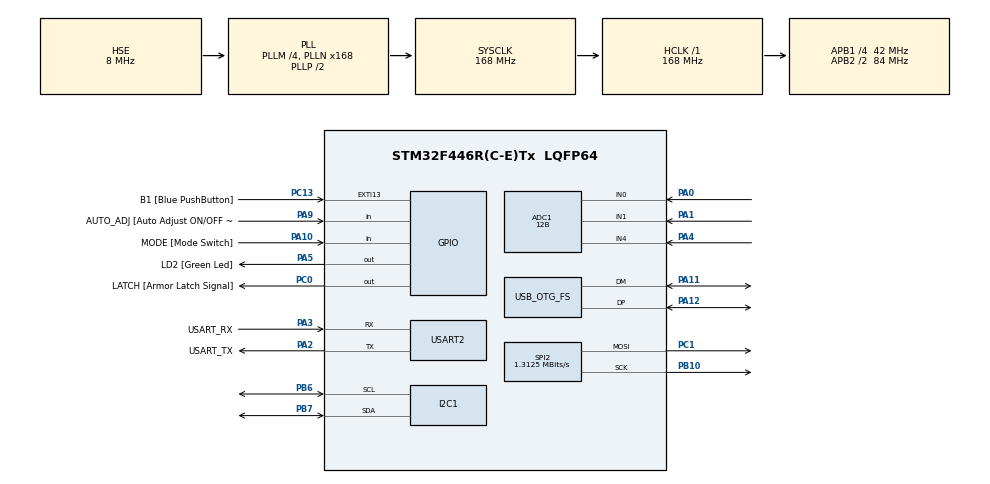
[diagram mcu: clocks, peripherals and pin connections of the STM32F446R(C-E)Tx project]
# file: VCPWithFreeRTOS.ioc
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ADC1.Channel-0\#ChannelRegularConversion=ADC_CHANNEL_0
ADC1.ClockPrescaler=ADC_CLOCK_SYNC_PCLK_DIV4
ADC1.ContinuousConvMode=DISABLE
ADC1.DMAContinuousRequests=DISABLE
ADC1.DataAlign=ADC_DATAALIGN_RIGHT
ADC1.DiscontinuousConvMode=DISABLE
ADC1.EOCSelection=ADC_EOC_SINGLE_CONV
ADC1.EnableAnalogWatchDog=false
ADC1.ExternalTrigConv=ADC_SOFTWARE_START
ADC1.ExternalTrigConvEdge=ADC_EXTERNALTRIGCONVEDGE_NONE
ADC1.InjNumberOfConversion=0
ADC1.NbrOfConversion=1
ADC1.NbrOfConversionFlag=1
ADC1.Rank-0\#ChannelRegularConversion=1
ADC1.Resolution=ADC_RESOLUTION_12B
ADC1.SamplingTime-0\#ChannelRegularConversion=ADC_SAMPLETIME_3CYCLES
ADC1.ScanConvMode=DISABLE
ADC1.master=1
FREERTOS.INCLUDE_vTaskDelayUntil=1
FREERTOS.Queues01=queueVcpRx,512,uint8_t,0,Dynamic,NULL,NULL;queueLedTx,8,ArmorPanelFrame,0,Dynamic,NULL,NULL
FREERTOS.Tasks01=defaultTask,0,128,StartDefaultTask,Default,NULL,Dynamic,NULL,NULL;ledTask,1,128,StartLedTask,Default,NULL,Dynamic,NULL,NULL;vcpDriverTask,2,128,StartVcpDriverTask,Default,NULL,Dynamic,NULL,NULL
FREERTOS.Timers01=switchPollTimer,switchPollCallback,osTimerPeriodic,Default,NULL,Dynamic,NULL
FREERTOS.configUSE_IDLE_HOOK=1
FREERTOS.configUSE_TIMERS=1
Mcu.Family=STM32F4
Mcu.Name=STM32F446R(C-E)Tx
Mcu.Package=LQFP64
NVIC.OTG_FS_IRQn=true\:5\:0\:false\:false\:true\:true\:false
NVIC.PriorityGroup=NVIC_PRIORITYGROUP_4
NVIC.SPI2_IRQn=true\:5\:0\:false\:false\:true\:true\:true
NVIC.TIM8_TRG_COM_TIM14_IRQn=true\:0\:0\:false\:false\:true\:false\:false
NVIC.TimeBase=TIM8_TRG_COM_TIM14_IRQn
NVIC.TimeBaseIP=TIM14
PA0-WKUP.Signal=ADCx_IN0
PA1.Signal=ADCx_IN1
PA10.GPIO_Label=MODE [Mode Switch]
PA10.GPIO_PuPd=GPIO_PULLUP
PA10.Signal=GPIO_Input
PA11.Mode=Device_Only
PA11.Signal=USB_OTG_FS_DM
PA12.Mode=Device_Only
PA12.Signal=USB_OTG_FS_DP
PA13.GPIO_Label=TMS
PA13.Mode=Serial_Wire
PA13.Signal=SYS_JTMS-SWDIO
PA14.GPIO_Label=TCK
PA14.Mode=Serial_Wire
PA14.Signal=SYS_JTCK-SWCLK
PA2.GPIO_Label=USART_TX
PA2.Mode=Asynchronous
PA2.Signal=USART2_TX
PA3.GPIO_Label=USART_RX
PA3.Mode=Asynchronous
PA3.Signal=USART2_RX
PA4.Signal=ADCx_IN4
PA5.GPIO_Label=LD2 [Green Led]
PA5.Signal=GPIO_Output
PA9.GPIO_Label=AUTO_ADJ [Auto Adjust ON/OFF Switch]
PA9.GPIO_PuPd=GPIO_PULLUP
PA9.Signal=GPIO_Input
PB10.Mode=TX_Only_Simplex_Unidirect_Master
PB10.Signal=SPI2_SCK
PB3.GPIO_Label=SWO
PB3.Signal=SYS_JTDO-SWO
PB6.Mode=I2C
PB6.Signal=I2C1_SCL
PB7.Mode=I2C
PB7.Signal=I2C1_SDA
PC0.GPIO_Label=LATCH [Armor Latch Signal]
PC0.PinState=GPIO_PIN_RESET
PC0.Signal=GPIO_Output
PC1.Mode=TX_Only_Simplex_Unidirect_Master
PC1.Signal=SPI2_MOSI
PC13.GPIO_Label=B1 [Blue PushButton]
PC13.GPIO_ModeDefaultEXTI=GPIO_MODE_IT_FALLING
PC13.Signal=GPXTI13
PC14-OSC32_IN.Mode=LSE-External-Oscillator
PC14-OSC32_IN.Signal=RCC_OSC32_IN
PC15-OSC32_OUT.Mode=LSE-External-Oscillator
PC15-OSC32_OUT.Signal=RCC_OSC32_OUT
PH0-OSC_IN.Mode=HSE-External-Oscillator
PH0-OSC_IN.Signal=RCC_OSC_IN
PH1-OSC_OUT.Mode=HSE-External-Oscillator
PH1-OSC_OUT.Signal=RCC_OSC_OUT
ProjectManager.HeapSize=0x400
ProjectManager.StackSize=0x800
ProjectManager.TargetToolchain=MDK-ARM V5
RCC.48MHZClocksFreq_Value=84000000
RCC.AHBFreq_Value=168000000
RCC.APB1CLKDivider=RCC_HCLK_DIV4
RCC.APB1Freq_Value=42000000
RCC.APB1TimFreq_Value=84000000
RCC.APB2CLKDivider=RCC_HCLK_DIV2
RCC.APB2Freq_Value=84000000
RCC.APB2TimFreq_Value=168000000
RCC.CortexFreq_Value=168000000
RCC.FLatency-AdvancedSettings=FLASH_LATENCY_5
RCC.HCLKFreq_Value=168000000
RCC.HSE_VALUE=8000000
RCC.HSI_VALUE=16000000
RCC.PLLM=4
RCC.PLLN=168
RCC.PLLQ=7
RCC.PLLSourceVirtual=RCC_PLLSOURCE_HSE
RCC.SYSCLKFreq_VALUE=168000000
RCC.SYSCLKSource=RCC_SYSCLKSOURCE_PLLCLK
RCC.USBFreq_Value=48000000
RCC.VCOOutputFreq_Value=336000000
SH.ADCx_IN0.0=ADC1_IN0,IN0
SH.ADCx_IN1.0=ADC1_IN1,IN1
SH.ADCx_IN4.0=ADC1_IN4,IN4
SPI2.BaudRatePrescaler=SPI_BAUDRATEPRESCALER_32
SPI2.CalculateBaudRate=1.3125 MBits/s
SPI2.Direction=SPI_DIRECTION_2LINES
SPI2.FirstBit=SPI_FIRSTBIT_LSB
SPI2.Mode=SPI_MODE_MASTER
SPI2.VirtualType=VM_MASTER
USART2.VirtualMode=VM_ASYNC
USB_DEVICE.CLASS_NAME_FS=CDC
USB_DEVICE.VirtualMode-CDC_FS=Cdc
USB_DEVICE.VirtualModeFS=Cdc_FS
USB_OTG_FS.VirtualMode=Device_Only
VP_FREERTOS_VS_ENABLE.Mode=Enabled
VP_SYS_VS_tim14.Mode=TIM14
VP_USB_DEVICE_VS_USB_DEVICE_CDC_FS.Mode=CDC_FS
board=NUCLEO-F446RE

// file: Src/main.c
/**
  ******************************************************************************
  * @file           : main.c
  * @brief          : Main program body
  ******************************************************************************
  * This notice applies to any and all portions of this file
  * that are not between comment pairs USER CODE BEGIN and
  * USER CODE END. Other portions of this file, whether
  * inserted by the user or by software development tools
  * are owned by their respective copyright owners.
  *
  * Copyright (c) 2018 STMicroelectronics International N.V.
  * All rights reserved.
  *
  * Redistribution and use in source and binary forms, with or without
  * modification, are permitted, provided that the following conditions are met:
  *
  * 1. Redistribution of source code must retain the above copyright notice,
  *    this list of conditions and the following disclaimer.
  * 2. Redistributions in binary form must reproduce the above copyright notice,
  *    this list of conditions and the following disclaimer in the documentation
  *    and/or other materials provided with the distribution.
  * 3. Neither the name of STMicroelectronics nor the names of other
  *    contributors to this software may be used to endorse or promote products
  *    derived from this software without specific written permission.
  * 4. This software, including modifications and/or derivative works of this
  *    software, must execute solely and exclusively on microcontroller or
  *    microprocessor devices manufactured by or for STMicroelectronics.
  * 5. Redistribution and use of this software other than as permitted under
  *    this license is void and will automatically terminate your rights under
  *    this license.
  *
  * THIS SOFTWARE IS PROVIDED BY STMICROELECTRONICS AND CONTRIBUTORS "AS IS"
  * AND ANY EXPRESS, IMPLIED OR STATUTORY WARRANTIES, INCLUDING, BUT NOT
  * LIMITED TO, THE IMPLIED WARRANTIES OF MERCHANTABILITY, FITNESS FOR A
  * PARTICULAR PURPOSE AND NON-INFRINGEMENT OF THIRD PARTY INTELLECTUAL PROPERTY
  * RIGHTS ARE DISCLAIMED TO THE FULLEST EXTENT PERMITTED BY LAW. IN NO EVENT
  * SHALL STMICROELECTRONICS OR CONTRIBUTORS BE LIABLE FOR ANY DIRECT, INDIRECT,
  * INCIDENTAL, SPECIAL, EXEMPLARY, OR CONSEQUENTIAL DAMAGES (INCLUDING, BUT NOT
  * LIMITED TO, PROCUREMENT OF SUBSTITUTE GOODS OR SERVICES; LOSS OF USE, DATA,
  * OR PROFITS; OR BUSINESS INTERRUPTION) HOWEVER CAUSED AND ON ANY THEORY OF
  * LIABILITY, WHETHER IN CONTRACT, STRICT LIABILITY, OR TORT (INCLUDING
  * NEGLIGENCE OR OTHERWISE) ARISING IN ANY WAY OUT OF THE USE OF THIS SOFTWARE,
  * EVEN IF ADVISED OF THE POSSIBILITY OF SUCH DAMAGE.
  *
  ******************************************************************************
  */
#include "main.h"
#include "stm32f4xx_hal.h"
#include "cmsis_os.h"
#include "usb_device.h"

/* USER CODE BEGIN Includes */
#include "usbd_cdc_if.h"
#include "user.h"
/* USER CODE END Includes */

ADC_HandleTypeDef hadc1;

I2C_HandleTypeDef hi2c1;

SPI_HandleTypeDef hspi2;

UART_HandleTypeDef huart2;

osThreadId defaultTaskHandle;
osThreadId ledTaskHandle;
osThreadId vcpDriverTaskHandle;
osMessageQId queueVcpRxHandle;
osMessageQId queueLedTxHandle;
osTimerId switchPollTimerHandle;

/* USER CODE BEGIN PV */
/* Private variables ---------------------------------------------------------*/

/* USER CODE END PV */

void SystemClock_Config(void);
static void MX_GPIO_Init(void);
static void MX_USART2_UART_Init(void);
static void MX_SPI2_Init(void);
static void MX_ADC1_Init(void);
static void MX_I2C1_Init(void);
void StartDefaultTask(void const * argument);
void StartLedTask(void const * argument);
void StartVcpDriverTask(void const * argument);
void switchPollCallback(void const * argument);

/* USER CODE BEGIN PFP */
/* Private function prototypes -----------------------------------------------*/

/* USER CODE END PFP */

/* USER CODE BEGIN 0 */
#ifdef __GNUC__
#define PUTCHAR_PROTOTYPE int __io_putchar(int ch)
#else
#define PUTCHAR_PROTOTYPE int fputc(int ch, FILE *f)
#endif /* __GNUC__ */
PUTCHAR_PROTOTYPE
{
  /* Place your implementation of fputc here */
  /* e.g. write a character to the USART1 and Loop until the end of transmission */
  HAL_UART_Transmit(&huart2, (uint8_t *)&ch, 1, 0xFFFF);

  return ch;
}

void VCP_ReceivedCallback(uint8_t *buf, uint16_t len)
{
	int i;
	portBASE_TYPE xHigherPriorityTaskWoken = pdFALSE;
	for (i = 0; i < len; i++) {
		xQueueSendFromISR(queueVcpRxHandle, (uint8_t*)&buf[i], &xHigherPriorityTaskWoken);
	}
	portYIELD_FROM_ISR(xHigherPriorityTaskWoken);
}

void vApplicationIdleHook(void)
{
	// TODO:
}

void OLED_WriteCommand(uint8_t command)
{
	uint8_t txBuff[2];
	txBuff[0] = 0x00;
	txBuff[1] = command;
	HAL_I2C_Master_Transmit(&hi2c1, (uint16_t)0x3C<<1, txBuff, 2, 0xFFFF);
	HAL_Delay(10);
}

void OLED_Init(void)
{
	HAL_Delay(100);
	OLED_WriteCommand(0x01);	// Clear Display
	HAL_Delay(20);
	OLED_WriteCommand(0x02);	// Return Home
	HAL_Delay(2);
	//OLED_WriteCommand(0x0F);	// Send Display ON Command
	OLED_WriteCommand(0x0C);	// Send Display ON Command (Blink=0, Cursor=0)
	HAL_Delay(2);
	OLED_WriteCommand(0x01);	// Clear Display
	HAL_Delay(20);
}

void OLED_SetContrast(uint8_t brightness)
{
	OLED_WriteCommand(0x2A);	// RE=1
	OLED_WriteCommand(0x79);	// SD=1
	OLED_WriteCommand(0x81);	// コントラストセット
	OLED_WriteCommand(brightness);
	OLED_WriteCommand(0x78);	// SDを0に戻す
	OLED_WriteCommand(0x28);	// 0x2C=高文字 / 0x28=ノーマル
	HAL_Delay(100);
}

void OLED_WriteData(uint8_t data)
{
	uint8_t txBuff[2];
	txBuff[0] = 0x40;
	txBuff[1] = data;
	HAL_I2C_Master_Transmit(&hi2c1, (uint16_t)0x3C<<1, txBuff, 2, 0xFFFF);
	HAL_Delay(1);
}

void OLED_HelloWorld(void)
{
	int i;
	int len;
	char str1[16] = "I2C OLED YELLOW";
	char str2[16];

	len = strlen(str1);
	for (i = 0; i < len; i++) {
		OLED_WriteData(str1[i]);
	}

	while (1) {
		// 2行目の先頭
		OLED_WriteCommand(0x20 + 0x80);

		sprintf(str2, "%10u", HAL_GetTick());
		len = strlen(str2);
		for (i = 0; i < len; i++) {
			OLED_WriteData(str2[i]);
		}
	}
}

/* USER CODE END 0 */

int main(void)
{

  /* MCU Configuration----------------------------------------------------------*/

  /* Reset of all peripherals, Initializes the Flash interface and the Systick. */
  HAL_Init();

  /* Configure the system clock */
  SystemClock_Config();

  /* Initialize all configured peripherals */
  MX_GPIO_Init();
  MX_USART2_UART_Init();
  MX_SPI2_Init();
  MX_ADC1_Init();
  MX_I2C1_Init();
  /* USER CODE BEGIN 2 */
	OLED_Init();
	OLED_SetContrast(255);
	OLED_HelloWorld();

  /* USER CODE END 2 */

  /* Create the timer(s) */
  /* definition and creation of switchPollTimer */
  osTimerDef(switchPollTimer, switchPollCallback);
  switchPollTimerHandle = osTimerCreate(osTimer(switchPollTimer), osTimerPeriodic, NULL);

  /* USER CODE BEGIN RTOS_TIMERS */
  /* start timers, add new ones, ... */
  osTimerStart(switchPollTimerHandle, 10);
  /* USER CODE END RTOS_TIMERS */

  /* Create the thread(s) */
  /* definition and creation of defaultTask */
  osThreadDef(defaultTask, StartDefaultTask, osPriorityNormal, 0, 128);
  defaultTaskHandle = osThreadCreate(osThread(defaultTask), NULL);

  /* definition and creation of ledTask */
  osThreadDef(ledTask, StartLedTask, osPriorityAboveNormal, 0, 128);
  ledTaskHandle = osThreadCreate(osThread(ledTask), NULL);

  /* definition and creation of vcpDriverTask */
  osThreadDef(vcpDriverTask, StartVcpDriverTask, osPriorityHigh, 0, 128);
  vcpDriverTaskHandle = osThreadCreate(osThread(vcpDriverTask), NULL);

  /* Create the queue(s) */
  /* definition and creation of queueVcpRx */
/* what about the sizeof here??? cd native code */
  osMessageQDef(queueVcpRx, 512, uint8_t);
  queueVcpRxHandle = osMessageCreate(osMessageQ(queueVcpRx), NULL);

  /* definition and creation of queueLedTx */
/* what about the sizeof here??? cd native code */
  osMessageQDef(queueLedTx, 8, ArmorPanelFrame);
  queueLedTxHandle = osMessageCreate(osMessageQ(queueLedTx), NULL);

  /* Start scheduler */
  osKernelStart();

  /* We should never get here as control is now taken by the scheduler */

  /* Infinite loop */
  while (1)
  {

  }

}

void SystemClock_Config(void)
{

  RCC_OscInitTypeDef RCC_OscInitStruct;
  RCC_ClkInitTypeDef RCC_ClkInitStruct;
  RCC_PeriphCLKInitTypeDef PeriphClkInitStruct;

    /**Configure the main internal regulator output voltage
    */
  __HAL_RCC_PWR_CLK_ENABLE();

  __HAL_PWR_VOLTAGESCALING_CONFIG(PWR_REGULATOR_VOLTAGE_SCALE1);

    /**Initializes the CPU, AHB and APB busses clocks
    */
  RCC_OscInitStruct.OscillatorType = RCC_OSCILLATORTYPE_HSE;
  RCC_OscInitStruct.HSEState = RCC_HSE_ON;
  RCC_OscInitStruct.PLL.PLLState = RCC_PLL_ON;
  RCC_OscInitStruct.PLL.PLLSource = RCC_PLLSOURCE_HSE;
  RCC_OscInitStruct.PLL.PLLM = 4;
  RCC_OscInitStruct.PLL.PLLN = 168;
  RCC_OscInitStruct.PLL.PLLP = RCC_PLLP_DIV2;
  RCC_OscInitStruct.PLL.PLLQ = 7;
  RCC_OscInitStruct.PLL.PLLR = 2;
  if (HAL_RCC_OscConfig(&RCC_OscInitStruct) != HAL_OK)
  {
    _Error_Handler(__FILE__, __LINE__);
  }

    /**Initializes the CPU, AHB and APB busses clocks
    */
  RCC_ClkInitStruct.ClockType = RCC_CLOCKTYPE_HCLK|RCC_CLOCKTYPE_SYSCLK
                              |RCC_CLOCKTYPE_PCLK1|RCC_CLOCKTYPE_PCLK2;
  RCC_ClkInitStruct.SYSCLKSource = RCC_SYSCLKSOURCE_PLLCLK;
  RCC_ClkInitStruct.AHBCLKDivider = RCC_SYSCLK_DIV1;
  RCC_ClkInitStruct.APB1CLKDivider = RCC_HCLK_DIV4;
  RCC_ClkInitStruct.APB2CLKDivider = RCC_HCLK_DIV2;

  if (HAL_RCC_ClockConfig(&RCC_ClkInitStruct, FLASH_LATENCY_5) != HAL_OK)
  {
    _Error_Handler(__FILE__, __LINE__);
  }

  PeriphClkInitStruct.PeriphClockSelection = RCC_PERIPHCLK_CLK48;
  PeriphClkInitStruct.Clk48ClockSelection = RCC_CLK48CLKSOURCE_PLLQ;
  if (HAL_RCCEx_PeriphCLKConfig(&PeriphClkInitStruct) != HAL_OK)
  {
    _Error_Handler(__FILE__, __LINE__);
  }

    /**Configure the Systick interrupt time
    */
  HAL_SYSTICK_Config(HAL_RCC_GetHCLKFreq()/1000);

    /**Configure the Systick
    */
  HAL_SYSTICK_CLKSourceConfig(SYSTICK_CLKSOURCE_HCLK);

  /* SysTick_IRQn interrupt configuration */
  HAL_NVIC_SetPriority(SysTick_IRQn, 15, 0);
}

/* ADC1 init function */
static void MX_ADC1_Init(void)
{

  ADC_ChannelConfTypeDef sConfig;

    /**Configure the global features of the ADC (Clock, Resolution, Data Alignment and number of conversion)
    */
  hadc1.Instance = ADC1;
  hadc1.Init.ClockPrescaler = ADC_CLOCK_SYNC_PCLK_DIV4;
  hadc1.Init.Resolution = ADC_RESOLUTION_12B;
  hadc1.Init.ScanConvMode = DISABLE;
  hadc1.Init.ContinuousConvMode = DISABLE;
  hadc1.Init.DiscontinuousConvMode = DISABLE;
  hadc1.Init.ExternalTrigConvEdge = ADC_EXTERNALTRIGCONVEDGE_NONE;
  hadc1.Init.ExternalTrigConv = ADC_SOFTWARE_START;
  hadc1.Init.DataAlign = ADC_DATAALIGN_RIGHT;
  hadc1.Init.NbrOfConversion = 1;
  hadc1.Init.DMAContinuousRequests = DISABLE;
  hadc1.Init.EOCSelection = ADC_EOC_SINGLE_CONV;
  if (HAL_ADC_Init(&hadc1) != HAL_OK)
  {
    _Error_Handler(__FILE__, __LINE__);
  }

    /**Configure for the selected ADC regular channel its corresponding rank in the sequencer and its sample time.
    */
  sConfig.Channel = ADC_CHANNEL_0;
  sConfig.Rank = 1;
  sConfig.SamplingTime = ADC_SAMPLETIME_3CYCLES;
  if (HAL_ADC_ConfigChannel(&hadc1, &sConfig) != HAL_OK)
  {
    _Error_Handler(__FILE__, __LINE__);
  }

}

/* I2C1 init function */
static void MX_I2C1_Init(void)
{

  hi2c1.Instance = I2C1;
  hi2c1.Init.ClockSpeed = 100000;
  hi2c1.Init.DutyCycle = I2C_DUTYCYCLE_2;
  hi2c1.Init.OwnAddress1 = 0;
  hi2c1.Init.AddressingMode = I2C_ADDRESSINGMODE_7BIT;
  hi2c1.Init.DualAddressMode = I2C_DUALADDRESS_DISABLE;
  hi2c1.Init.OwnAddress2 = 0;
  hi2c1.Init.GeneralCallMode = I2C_GENERALCALL_DISABLE;
  hi2c1.Init.NoStretchMode = I2C_NOSTRETCH_DISABLE;
  if (HAL_I2C_Init(&hi2c1) != HAL_OK)
  {
    _Error_Handler(__FILE__, __LINE__);
  }

}

/* SPI2 init function */
static void MX_SPI2_Init(void)
{

  /* SPI2 parameter configuration*/
  hspi2.Instance = SPI2;
  hspi2.Init.Mode = SPI_MODE_MASTER;
  hspi2.Init.Direction = SPI_DIRECTION_2LINES;
  hspi2.Init.DataSize = SPI_DATASIZE_8BIT;
  hspi2.Init.CLKPolarity = SPI_POLARITY_LOW;
  hspi2.Init.CLKPhase = SPI_PHASE_1EDGE;
  hspi2.Init.NSS = SPI_NSS_SOFT;
  hspi2.Init.BaudRatePrescaler = SPI_BAUDRATEPRESCALER_32;
  hspi2.Init.FirstBit = SPI_FIRSTBIT_LSB;
  hspi2.Init.TIMode = SPI_TIMODE_DISABLE;
  hspi2.Init.CRCCalculation = SPI_CRCCALCULATION_DISABLE;
  hspi2.Init.CRCPolynomial = 10;
  if (HAL_SPI_Init(&hspi2) != HAL_OK)
  {
    _Error_Handler(__FILE__, __LINE__);
  }

}

/* USART2 init function */
static void MX_USART2_UART_Init(void)
{

  huart2.Instance = USART2;
  huart2.Init.BaudRate = 115200;
  huart2.Init.WordLength = UART_WORDLENGTH_8B;
  huart2.Init.StopBits = UART_STOPBITS_1;
  huart2.Init.Parity = UART_PARITY_NONE;
  huart2.Init.Mode = UART_MODE_TX_RX;
  huart2.Init.HwFlowCtl = UART_HWCONTROL_NONE;
  huart2.Init.OverSampling = UART_OVERSAMPLING_16;
  if (HAL_UART_Init(&huart2) != HAL_OK)
  {
    _Error_Handler(__FILE__, __LINE__);
  }

}

/** Configure pins as
        * Analog
        * Input
        * Output
        * EVENT_OUT
        * EXTI
*/
static void MX_GPIO_Init(void)
{

  GPIO_InitTypeDef GPIO_InitStruct;

  /* GPIO Ports Clock Enable */
  __HAL_RCC_GPIOC_CLK_ENABLE();
  __HAL_RCC_GPIOH_CLK_ENABLE();
  __HAL_RCC_GPIOA_CLK_ENABLE();
  __HAL_RCC_GPIOB_CLK_ENABLE();

  /*Configure GPIO pin Output Level */
  HAL_GPIO_WritePin(LATCH_GPIO_Port, LATCH_Pin, GPIO_PIN_RESET);

  /*Configure GPIO pin Output Level */
  HAL_GPIO_WritePin(LD2_GPIO_Port, LD2_Pin, GPIO_PIN_RESET);

  /*Configure GPIO pin : B1_Pin */
  GPIO_InitStruct.Pin = B1_Pin;
  GPIO_InitStruct.Mode = GPIO_MODE_IT_FALLING;
  GPIO_InitStruct.Pull = GPIO_NOPULL;
  HAL_GPIO_Init(B1_GPIO_Port, &GPIO_InitStruct);

  /*Configure GPIO pin : LATCH_Pin */
  GPIO_InitStruct.Pin = LATCH_Pin;
  GPIO_InitStruct.Mode = GPIO_MODE_OUTPUT_PP;
  GPIO_InitStruct.Pull = GPIO_NOPULL;
  GPIO_InitStruct.Speed = GPIO_SPEED_FREQ_LOW;
  HAL_GPIO_Init(LATCH_GPIO_Port, &GPIO_InitStruct);

  /*Configure GPIO pin : LD2_Pin */
  GPIO_InitStruct.Pin = LD2_Pin;
  GPIO_InitStruct.Mode = GPIO_MODE_OUTPUT_PP;
  GPIO_InitStruct.Pull = GPIO_NOPULL;
  GPIO_InitStruct.Speed = GPIO_SPEED_FREQ_LOW;
  HAL_GPIO_Init(LD2_GPIO_Port, &GPIO_InitStruct);

  /*Configure GPIO pins : AUTO_ADJ_Pin MODE_Pin */
  GPIO_InitStruct.Pin = AUTO_ADJ_Pin|MODE_Pin;
  GPIO_InitStruct.Mode = GPIO_MODE_INPUT;
  GPIO_InitStruct.Pull = GPIO_PULLUP;
  HAL_GPIO_Init(GPIOA, &GPIO_InitStruct);

}

/* USER CODE BEGIN 4 */

static uint16_t getAnalogValue(uint8_t ch)
{
	ADC_ChannelConfTypeDef sConfig;
	uint32_t analogCh0, analogCh1, analogCh4;

	sConfig.Rank = 1;
	sConfig.SamplingTime = ADC_SAMPLETIME_56CYCLES;

	if (ch == 0) {
		sConfig.Channel = ADC_CHANNEL_0;
		HAL_ADC_ConfigChannel(&hadc1, &sConfig);
		HAL_ADC_Start(&hadc1);
		HAL_ADC_PollForConversion(&hadc1, 10);
		analogCh0 = HAL_ADC_GetValue(&hadc1);
		return analogCh0;

	} else if (ch == 1) {
		sConfig.Channel = ADC_CHANNEL_1;
		HAL_ADC_ConfigChannel(&hadc1, &sConfig);
		HAL_ADC_Start(&hadc1);
		HAL_ADC_PollForConversion(&hadc1, 10);
		analogCh1 = HAL_ADC_GetValue(&hadc1);
		return analogCh1;

	} else if (ch == 4) {
		sConfig.Channel = ADC_CHANNEL_4;
		HAL_ADC_ConfigChannel(&hadc1, &sConfig);
		HAL_ADC_Start(&hadc1);
		HAL_ADC_PollForConversion(&hadc1, 10);
		analogCh4 = HAL_ADC_GetValue(&hadc1);
		return analogCh4;

	} else {
		return 0xFFFF;
	}
}

void getInputPanel(InputPanel *panel)
{
	// TODO: 同期なので時間がかかることに注意。
	// 最終的にはDMA転送にしてフィルタ付きにするべき。
	panel->brightness = getAnalogValue(1);
	panel->cycle = getAnalogValue(4);
	panel->gain = getAnalogValue(0);
}

/* USER CODE END 4 */

/* StartDefaultTask function */
void StartDefaultTask(void const * argument)
{
  /* init code for USB_DEVICE */
  MX_USB_DEVICE_Init();

  /* USER CODE BEGIN 5 */
  /* Infinite loop */
  for (;;)
  {
	uint32_t analogCh0, analogCh1, analogCh4;
	analogCh0 = getAnalogValue(0);
	analogCh1 = getAnalogValue(1);
	analogCh4 = getAnalogValue(4);

	PRINTF("%d %d %d\n", analogCh0, analogCh1, analogCh4);

	static ArmorPanelFrame frame;
	portBASE_TYPE xStatus;

	// 自動調整モードONの場合のみ輝度/周期コマンドを送信する
	if (HAL_GPIO_ReadPin(AUTO_ADJ_GPIO_Port, AUTO_ADJ_Pin) == GPIO_PIN_RESET) {
		osDelay(100);
		continue;
	}

	//////////////////////////////////////////////////
	//  輝度
	//////////////////////////////////////////////////
	// 12bitADC(0-4095) --> 8bit
	uint8_t brightness = (uint8_t)(analogCh1 >> 4);

	// 1Finger
	frame.data[0] = 0x02;
	memset(&frame.data[1], brightness, 8);
	// 1Armor(Finger*4)
	memcpy(&frame.data[9*1], &frame.data[0], 9);
	memcpy(&frame.data[9*2], &frame.data[0], 9);
	memcpy(&frame.data[9*3], &frame.data[0], 9);
	// 1ArmorPanel(Armor*6)
	memcpy(&frame.data[36*1], &frame.data[0], 36);
	memcpy(&frame.data[36*2], &frame.data[0], 36);
	memcpy(&frame.data[36*3], &frame.data[0], 36);
	memcpy(&frame.data[36*4], &frame.data[0], 36);
	memcpy(&frame.data[36*5], &frame.data[0], 36);

	// MEMO:
	// 当初はArmor1コマンド分36バイトを1要素としたキューを考えていたが、
	// 6要素でArmorPanel1コマンドになるので、間にVCPからのコマンドが
	// 割り込んでくる場合が普通に有りうる。
	// つまり、6要素は不可分なので、Armorコマンド6個分の計216バイトを
	// 1要素とする必要がある。
	xStatus = xQueueSend(queueLedTxHandle, (ArmorPanelFrame*)&frame, portMAX_DELAY);
	if (xStatus != pdPASS) {
		PRINTF("ERR: queueLedTxHandle is Full!\n");
	}

	//////////////////////////////////////////////////
	//  周期
	//////////////////////////////////////////////////
	// 12bitADC(0-4095) --> 500-5000
	//   base=500, range=4500
	uint16_t light_cycle = (uint16_t)((((analogCh4 * 1.0) / 4096) * 4500) + 500);

	// 1Finger
	frame.data[0] = 0x04;
	frame.data[1] = (uint8_t)((light_cycle & 0xFF00) >> 8);
	frame.data[2] = (uint8_t)((light_cycle & 0x00FF));
	memset(&frame.data[3], 0xFF, 5);
	// 1Armor(Finger*4)
	memcpy(&frame.data[9*1], &frame.data[0], 9);
	memcpy(&frame.data[9*2], &frame.data[0], 9);
	memcpy(&frame.data[9*3], &frame.data[0], 9);
	// 1ArmorPanel(Armor*6)
	memcpy(&frame.data[36*1], &frame.data[0], 36);
	memcpy(&frame.data[36*2], &frame.data[0], 36);
	memcpy(&frame.data[36*3], &frame.data[0], 36);
	memcpy(&frame.data[36*4], &frame.data[0], 36);
	memcpy(&frame.data[36*5], &frame.data[0], 36);

	xStatus = xQueueSend(queueLedTxHandle, (ArmorPanelFrame*)&frame, portMAX_DELAY);
	if (xStatus != pdPASS) {
		PRINTF("ERR: queueLedTxHandle is Full!\n");
	}

	osDelay(100);
  }
  /* USER CODE END 5 */
}

/* StartLedTask function */
void StartLedTask(void const * argument)
{
  /* USER CODE BEGIN StartLedTask */
	// 有効コマンド受信回数
	static uint32_t cmdRxCount = 0;

  /* Infinite loop */
  for(;;)
  {
	static ArmorPanelFrame frame;
	xQueueReceive(queueLedTxHandle, &frame, portMAX_DELAY);
	cmdRxCount++;

	// コマンド送信中のみLEDを点灯させる
	HAL_GPIO_WritePin(LD2_GPIO_Port, LD2_Pin, GPIO_PIN_SET);

	int i;
	for (i = 0; i < 6; i++) {
		HAL_SPI_Transmit(&hspi2, &frame.data[i*(sizeof(frame.data)/6)], sizeof(frame.data)/6, 0xFFFF);
		delay_us(150 * 2);
	}

	// データ送信から更新までは一定時間空ける必要がある
	osDelay(ARMOR_UPDATE_INTERVAL_MS);

	HAL_GPIO_WritePin(LATCH_GPIO_Port, LATCH_Pin, GPIO_PIN_SET);
	delay_us(10);
	HAL_GPIO_WritePin(LATCH_GPIO_Port, LATCH_Pin, GPIO_PIN_RESET);

	// LATCH後の遅延は絶対必要。ただし、最適な時間は要検討。
	// これがない場合は表示破壊等が多発する。
	osDelay(2);

	// デバッグ用。これを入れると通信速度がかなり下がることに注意。
	// 参考: 20KB/s->10KB/s
	//PRINTF("%d\n", cmdRxCount);

	HAL_GPIO_WritePin(LD2_GPIO_Port, LD2_Pin, GPIO_PIN_RESET);
  }
  /* USER CODE END StartLedTask */
}

/* StartVcpDriverTask function */
void StartVcpDriverTask(void const * argument)
{
  /* USER CODE BEGIN StartVcpDriverTask */
  /* Infinite loop */
  for(;;)
  {
	int i;
	int len = 0;
	static int rxCmdBuffIndex = 0;
	static uint8_t rxCmdBuff[512];

	len = uxQueueMessagesWaiting(queueVcpRxHandle);

	if (len >= 1) {
		for (i = 0; i < len; i++) {
			xQueueReceive(queueVcpRxHandle, &rxCmdBuff[rxCmdBuffIndex], 0);
			rxCmdBuffIndex++;

			// コマンド受信完了
			if (rxCmdBuff[rxCmdBuffIndex-1] == '\n') {
				extern void Command_exec(const char *rxCmdBuff);
				Command_exec((const char*)rxCmdBuff);

				// 次のコマンド受信待機
				memset(rxCmdBuff, 0, sizeof(rxCmdBuff));
				rxCmdBuffIndex = 0;
				break;
			}
		}
	}

    osDelay(1);
  }
  /* USER CODE END StartVcpDriverTask */
}

/* switchPollCallback function */
void switchPollCallback(void const * argument)
{
  /* USER CODE BEGIN switchPollCallback */
 	static GPIO_PinState pinPrevState = GPIO_PIN_SET;
	GPIO_PinState pin;

	pin = HAL_GPIO_ReadPin(MODE_GPIO_Port, MODE_Pin);

	// 押下(RESET)->リリース(SET)で確定
	if ((pinPrevState == GPIO_PIN_RESET) && (pin == GPIO_PIN_SET)) {
		g_ModeEvent = TRUE;
	}
	pinPrevState = pin;

  /* USER CODE END switchPollCallback */
}

void HAL_TIM_PeriodElapsedCallback(TIM_HandleTypeDef *htim)
{
  if (htim->Instance == TIM14) {
    HAL_IncTick();
  }
}

void _Error_Handler(char *file, int line)
{
  while(1)
  {
  }
}

/************************ (C) COPYRIGHT STMicroelectronics *****END OF FILE****/

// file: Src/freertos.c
/**
  ******************************************************************************
  * File Name          : freertos.c
  * Description        : Code for freertos applications
  ******************************************************************************
  * This notice applies to any and all portions of this file
  * that are not between comment pairs USER CODE BEGIN and
  * USER CODE END. Other portions of this file, whether
  * inserted by the user or by software development tools
  * are owned by their respective copyright owners.
  *
  * Copyright (c) 2018 STMicroelectronics International N.V.
  * All rights reserved.
  *
  * Redistribution and use in source and binary forms, with or without
  * modification, are permitted, provided that the following conditions are met:
  *
  * 1. Redistribution of source code must retain the above copyright notice,
  *    this list of conditions and the following disclaimer.
  * 2. Redistributions in binary form must reproduce the above copyright notice,
  *    this list of conditions and the following disclaimer in the documentation
  *    and/or other materials provided with the distribution.
  * 3. Neither the name of STMicroelectronics nor the names of other
  *    contributors to this software may be used to endorse or promote products
  *    derived from this software without specific written permission.
  * 4. This software, including modifications and/or derivative works of this
  *    software, must execute solely and exclusively on microcontroller or
  *    microprocessor devices manufactured by or for STMicroelectronics.
  * 5. Redistribution and use of this software other than as permitted under
  *    this license is void and will automatically terminate your rights under
  *    this license.
  *
  * THIS SOFTWARE IS PROVIDED BY STMICROELECTRONICS AND CONTRIBUTORS "AS IS"
  * AND ANY EXPRESS, IMPLIED OR STATUTORY WARRANTIES, INCLUDING, BUT NOT
  * LIMITED TO, THE IMPLIED WARRANTIES OF MERCHANTABILITY, FITNESS FOR A
  * PARTICULAR PURPOSE AND NON-INFRINGEMENT OF THIRD PARTY INTELLECTUAL PROPERTY
  * RIGHTS ARE DISCLAIMED TO THE FULLEST EXTENT PERMITTED BY LAW. IN NO EVENT
  * SHALL STMICROELECTRONICS OR CONTRIBUTORS BE LIABLE FOR ANY DIRECT, INDIRECT,
  * INCIDENTAL, SPECIAL, EXEMPLARY, OR CONSEQUENTIAL DAMAGES (INCLUDING, BUT NOT
  * LIMITED TO, PROCUREMENT OF SUBSTITUTE GOODS OR SERVICES; LOSS OF USE, DATA,
  * OR PROFITS; OR BUSINESS INTERRUPTION) HOWEVER CAUSED AND ON ANY THEORY OF
  * LIABILITY, WHETHER IN CONTRACT, STRICT LIABILITY, OR TORT (INCLUDING
  * NEGLIGENCE OR OTHERWISE) ARISING IN ANY WAY OUT OF THE USE OF THIS SOFTWARE,
  * EVEN IF ADVISED OF THE POSSIBILITY OF SUCH DAMAGE.
  *
  ******************************************************************************
  */

#include "FreeRTOS.h"
#include "task.h"

/* Hook prototypes */
void vApplicationIdleHook(void);

/* USER CODE BEGIN 2 */
__weak void vApplicationIdleHook( void )
{
   /* vApplicationIdleHook() will only be called if configUSE_IDLE_HOOK is set
   to 1 in FreeRTOSConfig.h. It will be called on each iteration of the idle
   task. It is essential that code added to this hook function never attempts
   to block in any way (for example, call xQueueReceive() with a block time
   specified, or call vTaskDelay()). If the application makes use of the
   vTaskDelete() API function (as this demo application does) then it is also
   important that vApplicationIdleHook() is permitted to return to its calling
   function, because it is the responsibility of the idle task to clean up
   memory allocated by the kernel to any task that has since been deleted. */
}
/* USER CODE END 2 */

/************************ (C) COPYRIGHT STMicroelectronics *****END OF FILE****/
